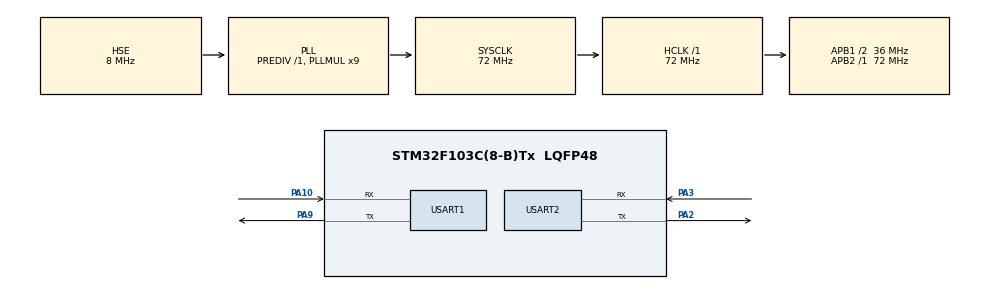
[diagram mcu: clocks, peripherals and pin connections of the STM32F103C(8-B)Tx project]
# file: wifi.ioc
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Mcu.Family=STM32F1
Mcu.Name=STM32F103C(8-B)Tx
Mcu.Package=LQFP48
NVIC.PriorityGroup=NVIC_PRIORITYGROUP_4
PA10.Mode=Asynchronous
PA10.Signal=USART1_RX
PA13.Mode=Serial_Wire
PA13.Signal=SYS_JTMS-SWDIO
PA14.Mode=Serial_Wire
PA14.Signal=SYS_JTCK-SWCLK
PA2.Mode=Asynchronous
PA2.Signal=USART2_TX
PA3.Mode=Asynchronous
PA3.Signal=USART2_RX
PA9.Mode=Asynchronous
PA9.Signal=USART1_TX
PD0-OSC_IN.Mode=HSE-External-Oscillator
PD0-OSC_IN.Signal=RCC_OSC_IN
PD1-OSC_OUT.Mode=HSE-External-Oscillator
PD1-OSC_OUT.Signal=RCC_OSC_OUT
ProjectManager.HeapSize=0x200
ProjectManager.StackSize=0x400
ProjectManager.TargetToolchain=MDK-ARM V5.32
RCC.AHBFreq_Value=72000000
RCC.APB1CLKDivider=RCC_HCLK_DIV2
RCC.APB1Freq_Value=36000000
RCC.APB1TimFreq_Value=72000000
RCC.APB2Freq_Value=72000000
RCC.APB2TimFreq_Value=72000000
RCC.HCLKFreq_Value=72000000
RCC.PLLMUL=RCC_PLL_MUL9
RCC.PLLSourceVirtual=RCC_PLLSOURCE_HSE
RCC.SYSCLKFreq_VALUE=72000000
RCC.SYSCLKSource=RCC_SYSCLKSOURCE_PLLCLK
RCC.USBFreq_Value=72000000
USART1.VirtualMode=VM_ASYNC
USART2.VirtualMode=VM_ASYNC
board=custom

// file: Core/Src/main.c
/* USER CODE BEGIN Header */
/**
  ******************************************************************************
  * @file           : main.c
  * @brief          : Main program body
  ******************************************************************************
  * @attention
  *
  * Copyright (c) 2026 STMicroelectronics.
  * All rights reserved.
  *
  * This software is licensed under terms that can be found in the LICENSE file
  * in the root directory of this software component.
  * If no LICENSE file comes with this software, it is provided AS-IS.
  *
  ******************************************************************************
  */
/* USER CODE END Header */
#include "main.h"

UART_HandleTypeDef huart1;
UART_HandleTypeDef huart2;

void SystemClock_Config(void);
static void MX_GPIO_Init(void);
static void MX_USART1_UART_Init(void);
static void MX_USART2_UART_Init(void);

	#include "stdio.h"
	#include "string.h"

	uint8_t rx;

/* Send command to Wemos */
/*void SendCommand(char *cmd)
{
    // STM32 ? Wemos
    HAL_UART_Transmit(&huart1,
                      (uint8_t *)cmd,
                      strlen(cmd),
                      HAL_MAX_DELAY);
	HAL_UART_Transmit(&huart2,(uint8_t *)cmd, strlen(cmd), HAL_MAX_DELAY);

    // Wemos ? STM32 ? PuTTY
    while (HAL_UART_Receive(&huart1,
                            &rx,
                            1,
                            1000) == HAL_OK)
    {
        HAL_UART_Transmit(&huart2,
                          &rx,
                          1,
                          HAL_MAX_DELAY);
    }
}*/
int main(void)
{

  /* MCU Configuration--------------------------------------------------------*/

  /* Reset of all peripherals, Initializes the Flash interface and the Systick. */
  HAL_Init();

  /* Configure the system clock */
  SystemClock_Config();

  /* Initialize all configured peripherals */
  MX_GPIO_Init();
  MX_USART1_UART_Init();
  MX_USART2_UART_Init();

  /* Infinite loop */
  /* USER CODE BEGIN WHILE */

  while (1)
		{/* PuTTY ? STM32 ? Wemos */
        if (HAL_UART_Receive(&huart2,
                             (uint8_t *)&rx,
                             1,
                             10) == HAL_OK)
        {
            /* Echo typed character back to PuTTY */
            HAL_UART_Transmit(&huart2,
                              (uint8_t *)&rx,
                              1,
                              HAL_MAX_DELAY);

            /* Send character to Wemos */
            HAL_UART_Transmit(&huart1,
                              (uint8_t *)&rx,
                              1,
                              HAL_MAX_DELAY);
        }

        /* Wemos -> STM32 */
        if (HAL_UART_Receive(&huart1,
                             (uint8_t *)&rx,
                             1,
                             10) == HAL_OK)
        {
            /* Send Wemos response to PuTTY */
            HAL_UART_Transmit(&huart2,
                              (uint8_t *)&rx,
                              1,
                              HAL_MAX_DELAY);
        }

    /* USER CODE END WHILE */

  }
}

void SystemClock_Config(void)
{
  RCC_OscInitTypeDef RCC_OscInitStruct = {0};
  RCC_ClkInitTypeDef RCC_ClkInitStruct = {0};

  /** Initializes the RCC Oscillators according to the specified parameters
  * in the RCC_OscInitTypeDef structure.
  */
  RCC_OscInitStruct.OscillatorType = RCC_OSCILLATORTYPE_HSE;
  RCC_OscInitStruct.HSEState = RCC_HSE_ON;
  RCC_OscInitStruct.HSEPredivValue = RCC_HSE_PREDIV_DIV1;
  RCC_OscInitStruct.HSIState = RCC_HSI_ON;
  RCC_OscInitStruct.PLL.PLLState = RCC_PLL_ON;
  RCC_OscInitStruct.PLL.PLLSource = RCC_PLLSOURCE_HSE;
  RCC_OscInitStruct.PLL.PLLMUL = RCC_PLL_MUL9;
  if (HAL_RCC_OscConfig(&RCC_OscInitStruct) != HAL_OK)
  {
    Error_Handler();
  }

  /** Initializes the CPU, AHB and APB buses clocks
  */
  RCC_ClkInitStruct.ClockType = RCC_CLOCKTYPE_HCLK|RCC_CLOCKTYPE_SYSCLK
                              |RCC_CLOCKTYPE_PCLK1|RCC_CLOCKTYPE_PCLK2;
  RCC_ClkInitStruct.SYSCLKSource = RCC_SYSCLKSOURCE_PLLCLK;
  RCC_ClkInitStruct.AHBCLKDivider = RCC_SYSCLK_DIV1;
  RCC_ClkInitStruct.APB1CLKDivider = RCC_HCLK_DIV2;
  RCC_ClkInitStruct.APB2CLKDivider = RCC_HCLK_DIV1;

  if (HAL_RCC_ClockConfig(&RCC_ClkInitStruct, FLASH_LATENCY_2) != HAL_OK)
  {
    Error_Handler();
  }
}

static void MX_USART1_UART_Init(void)
{

  huart1.Instance = USART1;
  huart1.Init.BaudRate = 115200;
  huart1.Init.WordLength = UART_WORDLENGTH_8B;
  huart1.Init.StopBits = UART_STOPBITS_1;
  huart1.Init.Parity = UART_PARITY_NONE;
  huart1.Init.Mode = UART_MODE_TX_RX;
  huart1.Init.HwFlowCtl = UART_HWCONTROL_NONE;
  huart1.Init.OverSampling = UART_OVERSAMPLING_16;
  if (HAL_UART_Init(&huart1) != HAL_OK)
  {
    Error_Handler();
  }

}

static void MX_USART2_UART_Init(void)
{

  huart2.Instance = USART2;
  huart2.Init.BaudRate = 115200;
  huart2.Init.WordLength = UART_WORDLENGTH_8B;
  huart2.Init.StopBits = UART_STOPBITS_1;
  huart2.Init.Parity = UART_PARITY_NONE;
  huart2.Init.Mode = UART_MODE_TX_RX;
  huart2.Init.HwFlowCtl = UART_HWCONTROL_NONE;
  huart2.Init.OverSampling = UART_OVERSAMPLING_16;
  if (HAL_UART_Init(&huart2) != HAL_OK)
  {
    Error_Handler();
  }

}

static void MX_GPIO_Init(void)
{

  /* GPIO Ports Clock Enable */
  __HAL_RCC_GPIOD_CLK_ENABLE();
  __HAL_RCC_GPIOA_CLK_ENABLE();

}

void Error_Handler(void)
{
  __disable_irq();
  while (1)
  {
  }
}
